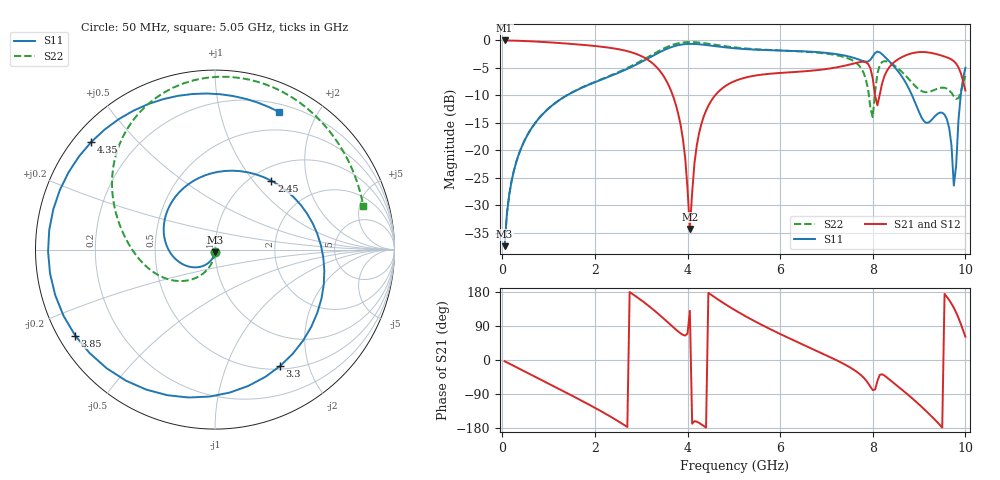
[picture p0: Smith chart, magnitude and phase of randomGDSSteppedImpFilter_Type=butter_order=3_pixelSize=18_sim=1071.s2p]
! freq	dB(S11)	phase(S11)	dB(S12)	phase(S12)
!  dB(S21)	phase(S21)	dB(S22)	phase(S22)
!S-par simulation data
#  GHz  S  DB  R 50
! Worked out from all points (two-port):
!   200 points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, 50 MHz to 10 GHz, reference 50 ohm
!   highest |S21| = -0.01 dB at 50 MHz (marker M1); lowest = -34.3 dB at 4.05 GHz (marker M2)
!   |S21| within 3 dB of the highest: start of sweep to 3.039 GHz; 8.637 GHz to 9.576 GHz (939.2 MHz wide, 10.3 % of centre)
!   lowest |S11| = -37.4 dB at 50 MHz (marker M3), VSWR 1.03, Z = 49.9 - j1.34 ohm
!   |S11| at or under -10 dB: start of sweep to 1.393 GHz; 8.849 GHz to 9.899 GHz (1.05 GHz wide, 11.2 % of centre)
!   |S22| runs from -37.4 to -0.3 dB; largest |S21 - S12| = 0
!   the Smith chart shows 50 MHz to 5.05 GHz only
!   S11 on the Smith chart (normalised r, x): 50 MHz: 1.00, -0.03; 2.45 GHz: 1.22, +1.24; 3.3 GHz: 0.54, -1.57; 3.85 GHz: 0.05, -0.28; 4.35 GHz: 0.05, +0.37; 5.05 GHz: 0.29, +1.54
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0.05  -37.41 -94.2  -0.01 -3.2  -0.01 -3.2  -37.40 -92.4
0.2  -25.59 -106.6  -0.03 -12.6  -0.03 -12.6  -25.58 -99.3
0.5  -17.88 -131.1  -0.11 -31.3  -0.11 -31.3  -17.86 -112.7
1.75  -8.48 121.9  -0.81 -109.7  -0.81 -109.7  -8.44 -162.8
2.45  -6.09 50.6  -1.51 -157.6  -1.51 -157.6  -5.97 172.7
2.95  -4.15 -10.8  -2.65 162.3  -2.65 162.3  -3.93 153.3
3.3  -2.57 -60.9  -4.58 128.9  -4.58 128.9  -2.28 135.5
3.4  -2.14 -76.3  -5.51 118.4  -5.51 118.4  -1.83 129.4
3.85  -0.78 -148.4  -15.36 70.3  -15.36 70.3  -0.43 96.9
4.05  -0.63 -179.4  -34.28 129.8  -34.28 129.8  -0.30 81.5
4.35  -0.78 138.9  -13.83 -174.1  -13.83 -174.1  -0.49 59.8
5.05  -1.46 64.9  -7.29 129.6  -7.29 129.6  -1.30 16.3
5.8  -1.78 9.1  -6.04 80.6  -6.04 80.6  -1.75 -25.8
6.7  -2.07 -42.7  -5.49 29.1  -5.49 29.1  -2.15 -75.5
7.7  -3.48 -93.1  -3.98 -35.3  -3.98 -35.3  -4.53 -148.7
7.95  -3.51 -98.1  -5.10 -70.8  -5.10 -70.8  -12.28 125.3
8.1  -2.04 -113.3  -11.81 -55.5  -11.81 -55.5  -6.04 -48.8
8.35  -3.74 -143.6  -4.94 -50.5  -4.94 -50.5  -3.97 -117.8
9  -13.03 115.7  -2.13 -117.4  -2.13 -117.4  -8.92 -152.3
9.6  -14.32 -49.7  -3.08 166.6  -3.08 166.6  -8.77 -153.6
9.75  -26.40 -45.9  -3.77 137.7  -3.77 137.7  -10.14 -153.8
10  -4.97 9.9  -9.11 61.3  -9.11 61.3  -6.46 -133.6
